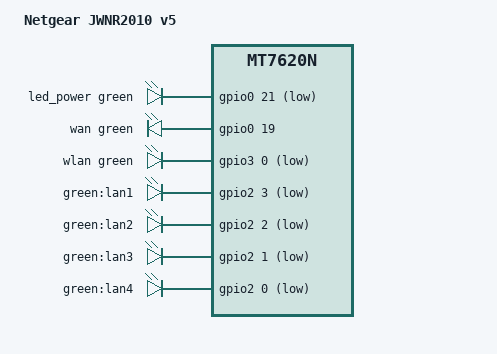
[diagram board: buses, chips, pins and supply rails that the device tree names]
// SPDX-License-Identifier: GPL-2.0-or-later OR MIT

#include <dt-bindings/leds/common.h>

#include "mt7620n_netgear_n300.dtsi"

/ {
	compatible = "netgear,jwnr2010-v5", "ralink,mt7620n-soc";
	model = "Netgear JWNR2010 v5";

	aliases {
		led-boot = &led_power;
		led-failsafe = &led_power;
		led-running = &led_power;
		led-upgrade = &led_power;
		label-mac-device = &ethernet;
	};

	leds {
		compatible = "gpio-leds";

		led_power: power {
			function = LED_FUNCTION_POWER;
			color = <LED_COLOR_ID_GREEN>;
			gpios = <&gpio0 21 GPIO_ACTIVE_LOW>;
		};

		wan {
			function = LED_FUNCTION_WAN;
			color = <LED_COLOR_ID_GREEN>;
			gpios = <&gpio0 19 GPIO_ACTIVE_HIGH>;
		};

		wlan {
			function = LED_FUNCTION_WLAN;
			color = <LED_COLOR_ID_GREEN>;
			gpios = <&gpio3 0 GPIO_ACTIVE_LOW>;
			linux,default-trigger = "phy0radio";
		};

		lan1 {
			label = "green:lan1";
			gpios = <&gpio2 3 GPIO_ACTIVE_LOW>;
		};

		lan2 {
			label = "green:lan2";
			gpios = <&gpio2 2 GPIO_ACTIVE_LOW>;
		};

		lan3 {
			label = "green:lan3";
			gpios = <&gpio2 1 GPIO_ACTIVE_LOW>;
		};

		lan4 {
			label = "green:lan4";
			gpios = <&gpio2 0 GPIO_ACTIVE_LOW>;
		};
	};
};
